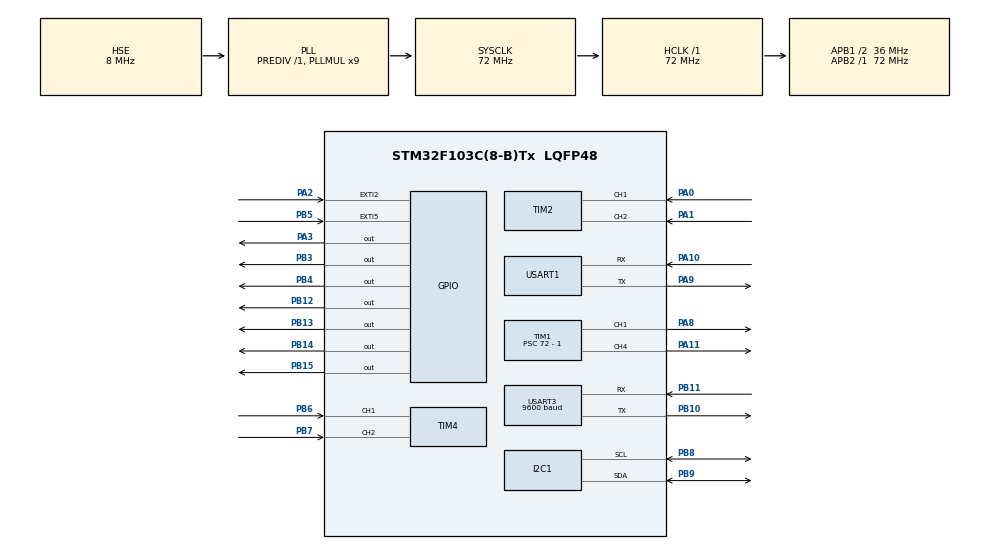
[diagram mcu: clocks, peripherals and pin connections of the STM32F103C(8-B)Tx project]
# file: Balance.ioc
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Dma.Request0=USART3_RX
Dma.Request1=USART3_TX
Dma.USART3_RX.0.Direction=DMA_PERIPH_TO_MEMORY
Dma.USART3_RX.0.Instance=DMA1_Channel3
Dma.USART3_RX.0.MemDataAlignment=DMA_MDATAALIGN_BYTE
Dma.USART3_RX.0.MemInc=DMA_MINC_ENABLE
Dma.USART3_RX.0.Mode=DMA_NORMAL
Dma.USART3_RX.0.PeriphDataAlignment=DMA_PDATAALIGN_BYTE
Dma.USART3_RX.0.PeriphInc=DMA_PINC_DISABLE
Dma.USART3_RX.0.Priority=DMA_PRIORITY_LOW
Dma.USART3_TX.1.Direction=DMA_MEMORY_TO_PERIPH
Dma.USART3_TX.1.Instance=DMA1_Channel2
Dma.USART3_TX.1.MemDataAlignment=DMA_MDATAALIGN_BYTE
Dma.USART3_TX.1.MemInc=DMA_MINC_ENABLE
Dma.USART3_TX.1.Mode=DMA_NORMAL
Dma.USART3_TX.1.PeriphDataAlignment=DMA_PDATAALIGN_BYTE
Dma.USART3_TX.1.PeriphInc=DMA_PINC_DISABLE
Dma.USART3_TX.1.Priority=DMA_PRIORITY_LOW
Mcu.Family=STM32F1
Mcu.Name=STM32F103C(8-B)Tx
Mcu.Package=LQFP48
NVIC.DMA1_Channel2_IRQn=true\:0\:0\:false\:false\:true\:false\:true\:true
NVIC.DMA1_Channel3_IRQn=true\:0\:0\:false\:false\:true\:false\:true\:true
NVIC.EXTI2_IRQn=true\:0\:0\:false\:false\:true\:true\:true\:true
NVIC.EXTI9_5_IRQn=true\:0\:0\:false\:false\:true\:true\:true\:true
NVIC.PriorityGroup=NVIC_PRIORITYGROUP_4
NVIC.USART1_IRQn=true\:0\:0\:false\:false\:true\:true\:true\:true
NVIC.USART3_IRQn=true\:0\:0\:false\:false\:true\:true\:true\:true
PA0-WKUP.Signal=S_TIM2_CH1_ETR
PA1.Signal=S_TIM2_CH2
PA10.Mode=Asynchronous
PA10.Signal=USART1_RX
PA11.Signal=S_TIM1_CH4
PA13.Mode=Serial_Wire
PA13.Signal=SYS_JTMS-SWDIO
PA14.Mode=Serial_Wire
PA14.Signal=SYS_JTCK-SWCLK
PA2.GPIO_ModeDefaultEXTI=GPIO_MODE_IT_RISING_FALLING
PA2.Signal=GPXTI2
PA3.Signal=GPIO_Output
PA8.Signal=S_TIM1_CH1
PA9.Mode=Asynchronous
PA9.Signal=USART1_TX
PB10.Mode=Asynchronous
PB10.Signal=USART3_TX
PB11.Mode=Asynchronous
PB11.Signal=USART3_RX
PB12.Signal=GPIO_Output
PB13.Signal=GPIO_Output
PB14.Signal=GPIO_Output
PB15.Signal=GPIO_Output
PB3.GPIO_ModeDefaultOutputPP=GPIO_MODE_OUTPUT_PP
PB3.GPIO_PuPd=GPIO_NOPULL
PB3.GPIO_Speed=GPIO_SPEED_FREQ_LOW
PB3.Signal=GPIO_Output
PB4.GPIO_ModeDefaultOutputPP=GPIO_MODE_OUTPUT_PP
PB4.GPIO_PuPd=GPIO_NOPULL
PB4.GPIO_Speed=GPIO_SPEED_FREQ_LOW
PB4.Signal=GPIO_Output
PB5.GPIO_ModeDefaultEXTI=GPIO_MODE_IT_FALLING
PB5.GPIO_PuPd=GPIO_PULLUP
PB5.Signal=GPXTI5
PB6.Signal=S_TIM4_CH1
PB7.Signal=S_TIM4_CH2
PB8.Mode=I2C
PB8.Signal=I2C1_SCL
PB9.Mode=I2C
PB9.Signal=I2C1_SDA
PD0-OSC_IN.Mode=HSE-External-Oscillator
PD0-OSC_IN.Signal=RCC_OSC_IN
PD1-OSC_OUT.Mode=HSE-External-Oscillator
PD1-OSC_OUT.Signal=RCC_OSC_OUT
ProjectManager.HeapSize=0x200
ProjectManager.StackSize=0x400
ProjectManager.TargetToolchain=MDK-ARM V5.32
RCC.AHBFreq_Value=72000000
RCC.APB1CLKDivider=RCC_HCLK_DIV2
RCC.APB1Freq_Value=36000000
RCC.APB1TimFreq_Value=72000000
RCC.APB2Freq_Value=72000000
RCC.APB2TimFreq_Value=72000000
RCC.HCLKFreq_Value=72000000
RCC.PLLMUL=RCC_PLL_MUL9
RCC.PLLSourceVirtual=RCC_PLLSOURCE_HSE
RCC.SYSCLKFreq_VALUE=72000000
RCC.SYSCLKSource=RCC_SYSCLKSOURCE_PLLCLK
RCC.USBFreq_Value=72000000
SH.S_TIM1_CH1.0=TIM1_CH1,PWM Generation1 CH1
SH.S_TIM1_CH4.0=TIM1_CH4,PWM Generation4 CH4
SH.S_TIM2_CH1_ETR.0=TIM2_CH1,Encoder_Interface
SH.S_TIM2_CH2.0=TIM2_CH2,Encoder_Interface
SH.S_TIM4_CH1.0=TIM4_CH1,Encoder_Interface
SH.S_TIM4_CH2.0=TIM4_CH2,Encoder_Interface
TIM1.Channel-PWM\ Generation1\ CH1=TIM_CHANNEL_1
TIM1.Channel-PWM\ Generation4\ CH4=TIM_CHANNEL_4
TIM1.Period=100 - 1
TIM1.Prescaler=72 - 1
TIM1.Pulse-PWM\ Generation1\ CH1=100
TIM1.Pulse-PWM\ Generation4\ CH4=100
TIM2.EncoderMode=TIM_ENCODERMODE_TI12
TIM2.IC1Filter=15
TIM2.IC2Filter=15
TIM3.Prescaler=72 - 1
TIM4.EncoderMode=TIM_ENCODERMODE_TI12
TIM4.IC1Filter=15
TIM4.IC2Filter=15
USART1.VirtualMode=VM_ASYNC
USART3.BaudRate=9600
USART3.VirtualMode=VM_ASYNC
VP_TIM3_VS_ClockSourceINT.Mode=Internal
board=custom

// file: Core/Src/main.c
/* USER CODE BEGIN Header */
/**
  ******************************************************************************
  * @file           : main.c
  * @brief          : Main program body
  ******************************************************************************
  * @attention
  *
  * Copyright (c) 2024 STMicroelectronics.
  * All rights reserved.
  *
  * This software is licensed under terms that can be found in the LICENSE file
  * in the root directory of this software component.
  * If no LICENSE file comes with this software, it is provided AS-IS.
  *
  ******************************************************************************
  */
/* USER CODE END Header */
#include "main.h"
#include "dma.h"
#include "i2c.h"
#include "tim.h"
#include "usart.h"
#include "gpio.h"

/* USER CODE BEGIN Includes */
#include "oled.h"
#include "sr04.h"
#include "myi2c.h"
#include "inv_mpu.h"
#include "inv_mpu_dmp_motion_driver.h"
#include "mpu6050.h"
#include "motor.h"

/* USER CODE END Includes */

/* USER CODE BEGIN PV */
float distance;
mpu_type_r mpu_r;
char display_buf[20];
uint8_t rx_buf[20];
/* USER CODE END PV */

void SystemClock_Config(void);

int main(void)
{

  /* MCU Configuration--------------------------------------------------------*/

  /* Reset of all peripherals, Initializes the Flash interface and the Systick. */
  HAL_Init();

  /* Configure the system clock */
  SystemClock_Config();

  /* Initialize all configured peripherals */
  MX_GPIO_Init();
  MX_DMA_Init();
  MX_I2C1_Init();
  MX_TIM2_Init();
  MX_USART3_UART_Init();
  MX_USART1_UART_Init();
  MX_TIM1_Init();
  MX_TIM4_Init();
  MX_TIM3_Init();
  /* USER CODE BEGIN 2 */
  OLED_Init();
  OLED_Clear();
  MPU_Init();
	mpu_dmp_init();
  HAL_NVIC_SetPriority(EXTI9_5_IRQn, 0, 0);
  HAL_NVIC_EnableIRQ(EXTI9_5_IRQn);
  // motor_Init();
  // motor_set_speed(0, 0);
  /* USER CODE END 2 */

  /* Infinite loop */
  /* USER CODE BEGIN WHILE */
  while (1)
  {
    // SR04_Start();
    // distance = SR04_GetDistance();
    // OLED_ShowString(25, 4, "Distance:", 12, 0);
    // OLED_Showdecimal(50, 4, distance, 2, 2, 12, 0);

    // mpu_dmp_get_data(&mpu.pitch, &mpu.roll, &mpu.yaw);
    // printf("%.3f,%.3f,%.3f\n", mpu.roll, mpu.pitch, mpu.yaw);
    // OLED_ShowString(0, 0, "MPU6050:", 12, 0);
    // sprintf((char *)display_buf, "pitch:%.2f   ", mpu.pitch);
    // OLED_ShowString(0, 2, display_buf, 12, 0);
    // sprintf((char *)display_buf, "roll:%.2f   ", mpu.roll);
    // OLED_ShowString(0, 4, display_buf, 12, 0);
    // sprintf((char *)display_buf, "yaw:%.2f   ", mpu.yaw);
    // OLED_ShowString(0, 6, display_buf, 12, 0);

    /* USER CODE END WHILE */

    /* USER CODE BEGIN 3 */
    /* USER CODE END WHILE */

    /* USER CODE BEGIN 3 */
  }
  /* USER CODE END 3 */
}

void SystemClock_Config(void)
{
  RCC_OscInitTypeDef RCC_OscInitStruct = {0};
  RCC_ClkInitTypeDef RCC_ClkInitStruct = {0};

  /** Initializes the RCC Oscillators according to the specified parameters
  * in the RCC_OscInitTypeDef structure.
  */
  RCC_OscInitStruct.OscillatorType = RCC_OSCILLATORTYPE_HSE;
  RCC_OscInitStruct.HSEState = RCC_HSE_ON;
  RCC_OscInitStruct.HSEPredivValue = RCC_HSE_PREDIV_DIV1;
  RCC_OscInitStruct.HSIState = RCC_HSI_ON;
  RCC_OscInitStruct.PLL.PLLState = RCC_PLL_ON;
  RCC_OscInitStruct.PLL.PLLSource = RCC_PLLSOURCE_HSE;
  RCC_OscInitStruct.PLL.PLLMUL = RCC_PLL_MUL9;
  if (HAL_RCC_OscConfig(&RCC_OscInitStruct) != HAL_OK)
  {
    Error_Handler();
  }

  /** Initializes the CPU, AHB and APB buses clocks
  */
  RCC_ClkInitStruct.ClockType = RCC_CLOCKTYPE_HCLK|RCC_CLOCKTYPE_SYSCLK
                              |RCC_CLOCKTYPE_PCLK1|RCC_CLOCKTYPE_PCLK2;
  RCC_ClkInitStruct.SYSCLKSource = RCC_SYSCLKSOURCE_PLLCLK;
  RCC_ClkInitStruct.AHBCLKDivider = RCC_SYSCLK_DIV1;
  RCC_ClkInitStruct.APB1CLKDivider = RCC_HCLK_DIV2;
  RCC_ClkInitStruct.APB2CLKDivider = RCC_HCLK_DIV1;

  if (HAL_RCC_ClockConfig(&RCC_ClkInitStruct, FLASH_LATENCY_2) != HAL_OK)
  {
    Error_Handler();
  }
}

/* USER CODE BEGIN 4 */
void HAL_UARTEx_RxEventCallback(UART_HandleTypeDef *huart, uint16_t Size)
{
  if (huart->Instance == USART3)
  {
    HAL_UART_Transmit(&huart3, rx_buf, 20, 1000);
    HAL_UARTEx_ReceiveToIdle_DMA(&huart3, (uint8_t *)rx_buf, 20);
    __HAL_DMA_DISABLE_IT(&hdma_usart3_rx, DMA_IT_HT);
  }
}
/* USER CODE END 4 */

void Error_Handler(void)
{
  __disable_irq();
  while (1)
  {
  }
}
